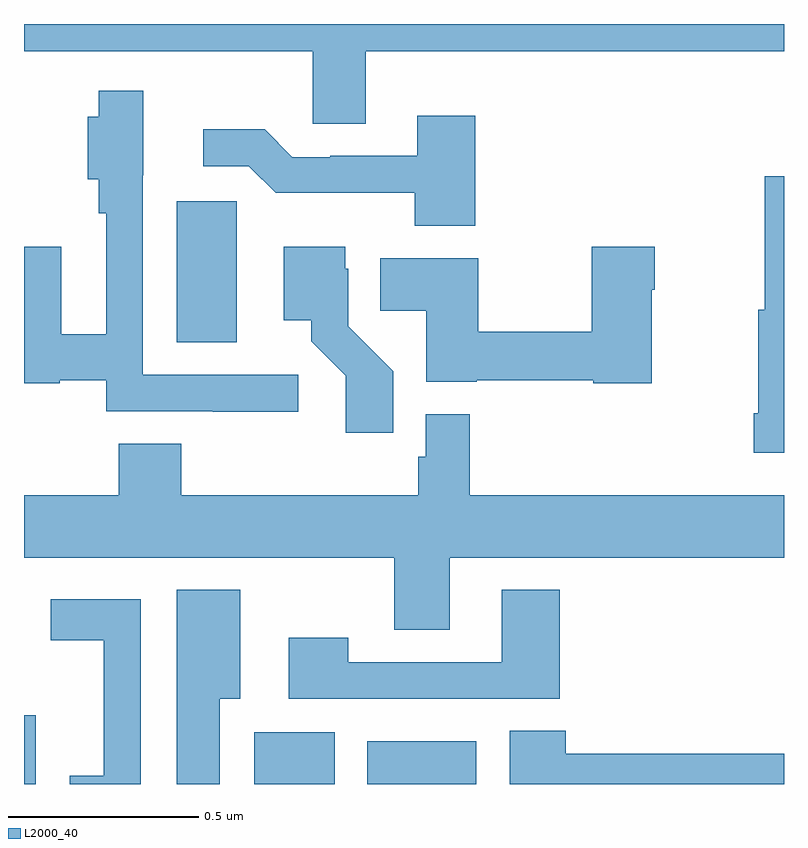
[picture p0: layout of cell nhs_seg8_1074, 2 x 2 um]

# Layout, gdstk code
import gdstk
lib = gdstk.Library(unit=1e-6, precision=1e-09)
def R(c, l, rs):  # rectangles x0, y0, x1, y1
    for r in rs: c.add(gdstk.rectangle(r[:2], r[2:], *l))
def P(c, l, *ps):  # polygons
    for p in ps: c.add(gdstk.Polygon(p, *l))
L2000_40 = (2000, 40)

nhs_seg8_1074 = lib.new_cell('nhs_seg8_1074')
R(nhs_seg8_1074, L2000_40, [(125,1119.9,125.031,1120.081), (125.606,1119.9,125.818,1120.036), (125.903,1119.9,126.19,1120.012), (125.402,1121.062,125.56,1121.433)])
P(nhs_seg8_1074, L2000_40, [(125.899,1121.828),(127,1121.828),(127,1121.9),(125,1121.9),(125,1121.828),(125.76,1121.828),(125.76,1121.638),(125.899,1121.638)],
  [(125.722,1120.977),(125.313,1120.977),(125.313,1121.502),(125.314,1121.502),(125.314,1121.725),(125.197,1121.725),(125.197,1121.656),(125.168,1121.656),(125.168,1121.491),(125.197,1121.491),(125.197,1121.402),(125.217,1121.402),(125.217,1121.083),(125.098,1121.083),(125.098,1121.314),(125,1121.314),(125,1120.954),(125.094,1120.954),(125.094,1120.962),(125.217,1120.962),(125.217,1120.881),(125.497,1120.881),(125.497,1120.879),(125.722,1120.879)],
  [(126.188,1121.659),(126.035,1121.659),(126.035,1121.553),(125.806,1121.553),(125.806,1121.55),(125.706,1121.55),(125.633,1121.623),(125.472,1121.623),(125.472,1121.526),(125.592,1121.526),(125.663,1121.456),(126.028,1121.456),(126.028,1121.369),(126.188,1121.369)],
  [(127,1121.5),(126.949,1121.5),(126.949,1121.148),(126.932,1121.148),(126.932,1120.876),(126.92,1120.876),(126.92,1120.772),(127,1120.772)],
  [(126.652,1121.201),(126.66,1121.201),(126.66,1121.314),(126.494,1121.314),(126.494,1121.09),(126.196,1121.09),(126.196,1121.284),(125.938,1121.284),(125.938,1121.146),(126.059,1121.146),(126.059,1120.958),(126.192,1120.958),(126.192,1120.962),(126.498,1120.962),(126.498,1120.954),(126.652,1120.954)],
  [(125.972,1120.986),(125.853,1121.105),(125.853,1121.256),(125.845,1121.256),(125.845,1121.314),(125.684,1121.314),(125.684,1121.12),(125.756,1121.12),(125.756,1121.065),(125.847,1120.975),(125.847,1120.824),(125.972,1120.824)],
  [(126.121,1120.496),(127,1120.496),(127,1120.66),(126.173,1120.66),(126.173,1120.873),(126.057,1120.873),(126.057,1120.761),(126.037,1120.761),(126.037,1120.66),(125.414,1120.66),(125.414,1120.796),(125.249,1120.796),(125.249,1120.66),(125,1120.66),(125,1120.496),(125.974,1120.496),(125.974,1120.306),(126.121,1120.306)],
  [(126.41,1120.411),(126.257,1120.411),(126.257,1120.221),(125.853,1120.221),(125.853,1120.285),(125.697,1120.285),(125.697,1120.125),(126.41,1120.125)],
  [(125.515,1120.124),(125.569,1120.124),(125.569,1120.411),(125.402,1120.411),(125.402,1119.9),(125.515,1119.9)],
  [(125.307,1120.386),(125.07,1120.386),(125.07,1120.278),(125.21,1120.278),(125.21,1119.922),(125.12,1119.922),(125.12,1119.9),(125.307,1119.9)],
  [(127,1119.98),(126.425,1119.98),(126.425,1120.04),(126.278,1120.04),(126.278,1119.9),(127,1119.9)])

lib.write_gds('nhs_seg8_1074.gds')
